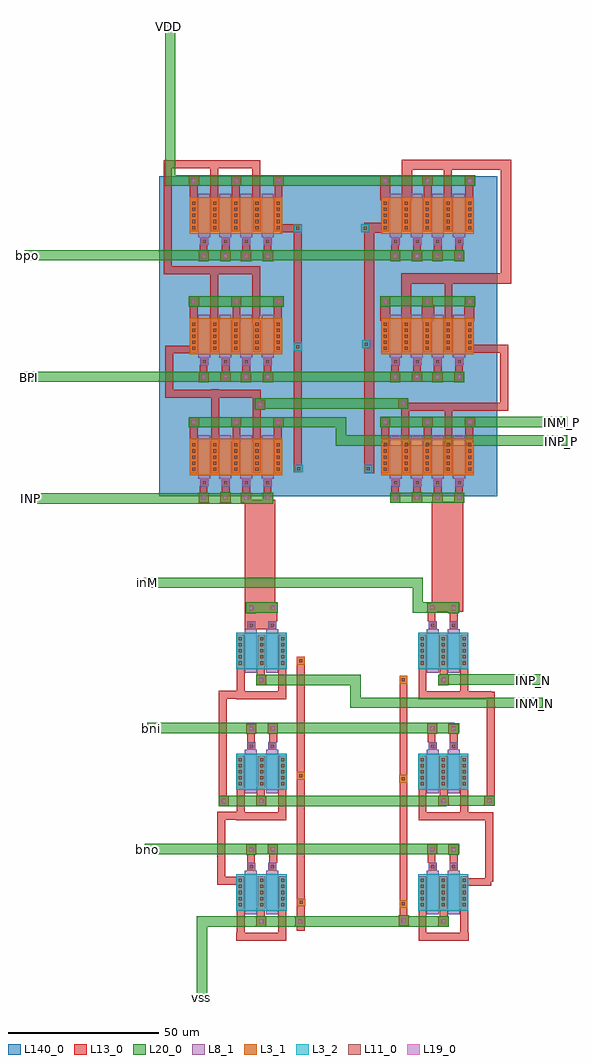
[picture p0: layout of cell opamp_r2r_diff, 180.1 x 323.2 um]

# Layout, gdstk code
from math import pi, radians
import gdstk
lib = gdstk.Library(unit=1e-6, precision=1e-07)
def R(c, l, rs):  # rectangles x0, y0, x1, y1
    for r in rs: c.add(gdstk.rectangle(r[:2], r[2:], *l))
def A(c, l, x, y, w, h, nx, ny, dx, dy):  # array of equal rectangles
    R(c, l, [(x+i*dx, y+j*dy, x+i*dx+w, y+j*dy+h) for i in range(nx) for j in range(ny)])
L3_1 = (3, 1)
L3_2 = (3, 2)
L8_1 = (8, 1)
L11_0 = (11, 0)
L13_0 = (13, 0)
L19_0 = (19, 0)
L20_0 = (20, 0)
L140_0 = (140, 0)

via_1 = lib.new_cell('via_1')
R(via_1, L13_0, [(-1.7,-1.7,1.7,1.7)])
R(via_1, L19_0, [(-0.7,-0.7,0.7,0.7)])
R(via_1, L20_0, [(-1.7,-1.7,1.7,1.7)])

cont_g = lib.new_cell('cont_g')
R(cont_g, L8_1, [(-1.3,-1.3,1.3,1.3)])
R(cont_g, L11_0, [(-0.5,-0.5,0.5,0.5)])
R(cont_g, L13_0, [(-1.3,-1.3,1.3,1.3)])

fet_p = lib.new_cell('fet_p')
R(fet_p, L3_1, [(-15.3,-6,15.3,6)])
A(fet_p, L11_0, -14.5, -4.5, 1, 1, 5, 5, 7, 2)
A(fet_p, L13_0, -15.3, -5.3, 2.6, 10.6, 5, 1, 7, 0)
fet_p.add(gdstk.FlexPath([(3.5,-7.2),(3.5,7.2)], 4, ends="flush", simple_path=True, layer=8, datatype=1))  # L8_1
fet_p.add(gdstk.FlexPath([(-3.5,-7.2),(-3.5,7.2)], 4, ends="flush", simple_path=True, layer=8, datatype=1))  # L8_1
fet_p.add(gdstk.FlexPath([(10.5,-7.2),(10.5,7.2)], 4, ends="flush", simple_path=True, layer=8, datatype=1))  # L8_1
fet_p.add(gdstk.FlexPath([(-10.5,-7.2),(-10.5,7.2)], 4, ends="flush", simple_path=True, layer=8, datatype=1))  # L8_1

cont_n = lib.new_cell('cont_n')
R(cont_n, L3_2, [(-1.3,-1.3,1.3,1.3)])
R(cont_n, L11_0, [(-0.5,-0.5,0.5,0.5)])
R(cont_n, L13_0, [(-1.3,-1.3,1.3,1.3)])

fet_n = lib.new_cell('fet_n')
R(fet_n, L3_2, [(-8.3,-6,8.3,6)])
A(fet_n, L11_0, -7.5, -4.5, 1, 1, 3, 5, 7, 2)
A(fet_n, L13_0, -8.3, -5.3, 2.6, 10.6, 3, 1, 7, 0)
fet_n.add(gdstk.FlexPath([(3.5,-7.2),(3.5,7.2)], 4, ends="flush", simple_path=True, layer=8, datatype=1))  # L8_1
fet_n.add(gdstk.FlexPath([(-3.5,-7.2),(-3.5,7.2)], 4, ends="flush", simple_path=True, layer=8, datatype=1))  # L8_1

nfet_std = lib.new_cell('NFET_STD')
nfet_std.add(gdstk.FlexPath([(4.9,28.5),(4.9,25.8)], 2.6, ends="flush", simple_path=True, layer=13, datatype=0))  # L13_0
nfet_std.add(gdstk.FlexPath([(12.3,28.6),(12.3,25.8)], 2.6, ends="flush", simple_path=True, layer=13, datatype=0))  # L13_0
nfet_std.add(gdstk.FlexPath([(15.3,10.9),(15.3,1.3),(0,1.3)], 2.6, ends="flush", simple_path=True, layer=13, datatype=0))  # L13_0
nfet_std.add(gdstk.FlexPath([(1.5,10.7),(1.5,2.2)], 2.6, ends="flush", simple_path=True, layer=13, datatype=0))  # L13_0
nfet_std.add(gdstk.FlexPath([(8.2,11),(8.2,5.8)], 2.6, ends="flush", simple_path=True, layer=13, datatype=0))  # L13_0
nfet_std.add(gdstk.FlexPath([(3.1,30.4),(13.6,30.4)], 3.4, ends="flush", simple_path=True, layer=20, datatype=0))  # L20_0
nfet_std.add(gdstk.Reference(cont_g, (5,24.5), rotation=pi/2))
nfet_std.add(gdstk.Reference(cont_g, (11.9,24.5), rotation=pi/2))
nfet_std.add(gdstk.Reference(via_1, (5,30.2), rotation=pi/2))
nfet_std.add(gdstk.Reference(via_1, (12.1,30.3), rotation=pi/2))
nfet_std.add(gdstk.Reference(via_1, (8.3,6.4), rotation=pi/2))
nfet_std.add(gdstk.Reference(fet_n, (8.4,16)))

cont_p = lib.new_cell('cont_p')
R(cont_p, L3_1, [(-1.3,-1.3,1.3,1.3)])
R(cont_p, L11_0, [(-0.5,-0.5,0.5,0.5)])
R(cont_p, L13_0, [(-1.3,-1.3,1.3,1.3)])

opamp_r2r_diff = lib.new_cell('opamp_r2r_diff')
R(opamp_r2r_diff, L140_0, [(-25.5,67.2,27.4,93.2), (-25.5,67.2,86.5,173.2), (37.1,67.2,86.5,93.2), (-25.5,107.2,24.9,133.2), (37.2,107.2,86.5,133.2), (-25.5,147.2,29.5,173.2), (36.8,147.2,86.5,173.2)])
opamp_r2r_diff.add(gdstk.FlexPath([(-10.8,70.7),(-10.8,68.2)], 2.6, ends="flush", simple_path=True, layer=13, datatype=0))  # L13_0
opamp_r2r_diff.add(gdstk.FlexPath([(-3.5,70.7),(-3.5,68.2)], 2.6, ends="flush", simple_path=True, layer=13, datatype=0))  # L13_0
opamp_r2r_diff.add(gdstk.FlexPath([(3.3,70.5),(3.3,68.3)], 2.6, ends="flush", simple_path=True, layer=13, datatype=0))  # L13_0
opamp_r2r_diff.add(gdstk.FlexPath([(10.4,70.5),(10.4,68.2)], 2.6, ends="flush", simple_path=True, layer=13, datatype=0))  # L13_0
opamp_r2r_diff.add(gdstk.FlexPath([(-6.9,85),(-6.9,102.6)], 2.6, ends="flush", simple_path=True, layer=13, datatype=0))  # L13_0
opamp_r2r_diff.add(gdstk.FlexPath([(52.6,70.7),(52.6,68.2)], 2.6, ends="flush", simple_path=True, layer=13, datatype=0))  # L13_0
opamp_r2r_diff.add(gdstk.FlexPath([(13.8,90.4),(13.8,85.2)], 2.6, ends="flush", simple_path=True, layer=13, datatype=0))  # L13_0
opamp_r2r_diff.add(gdstk.FlexPath([(0.1,90.7),(0.1,85.2)], 2.6, ends="flush", simple_path=True, layer=13, datatype=0))  # L13_0
opamp_r2r_diff.add(gdstk.FlexPath([(-14,90.6),(-14,85.3)], 2.6, ends="flush", simple_path=True, layer=13, datatype=0))  # L13_0
opamp_r2r_diff.add(gdstk.FlexPath([(-10.8,110.7),(-10.8,108.2)], 2.6, ends="flush", simple_path=True, layer=13, datatype=0))  # L13_0
opamp_r2r_diff.add(gdstk.FlexPath([(-10.8,150.7),(-10.8,148.2)], 2.6, ends="flush", simple_path=True, layer=13, datatype=0))  # L13_0
opamp_r2r_diff.add(gdstk.FlexPath([(-3.5,110.7),(-3.5,108.2)], 2.6, ends="flush", simple_path=True, layer=13, datatype=0))  # L13_0
opamp_r2r_diff.add(gdstk.FlexPath([(-3.5,150.7),(-3.5,148.2)], 2.6, ends="flush", simple_path=True, layer=13, datatype=0))  # L13_0
opamp_r2r_diff.add(gdstk.FlexPath([(3.3,110.5),(3.3,108.3)], 2.6, ends="flush", simple_path=True, layer=13, datatype=0))  # L13_0
opamp_r2r_diff.add(gdstk.FlexPath([(3.3,150.5),(3.3,148.3)], 2.6, ends="flush", simple_path=True, layer=13, datatype=0))  # L13_0
opamp_r2r_diff.add(gdstk.FlexPath([(10.4,110.5),(10.4,108.2)], 2.6, ends="flush", simple_path=True, layer=13, datatype=0))  # L13_0
opamp_r2r_diff.add(gdstk.FlexPath([(10.4,150.5),(10.4,148.2)], 2.6, ends="flush", simple_path=True, layer=13, datatype=0))  # L13_0
opamp_r2r_diff.add(gdstk.FlexPath([(-7.2,125.3),(-7.2,141.4)], 2.6, ends="flush", simple_path=True, layer=13, datatype=0))  # L13_0
opamp_r2r_diff.add(gdstk.FlexPath([(-7.2,165.3),(-7.2,176.6)], 2.6, ends="flush", simple_path=True, layer=13, datatype=0))  # L13_0
opamp_r2r_diff.add(gdstk.FlexPath([(6.8,85.3),(6.8,101.2),(-22.2,101.2),(-22.2,115.9)], 2.6, ends="flush", simple_path=True, layer=13, datatype=0))  # L13_0
opamp_r2r_diff.add(gdstk.FlexPath([(6.6,165.4),(6.6,177.1),(-22.6,177.1),(-22.6,142),(6.7,142),(6.7,125.6),(7.6,125.6)], 2.6, ends="flush", simple_path=True, layer=13, datatype=0))  # L13_0
opamp_r2r_diff.add(gdstk.FlexPath([(13.8,130.4),(13.8,125.2)], 2.6, ends="flush", simple_path=True, layer=13, datatype=0))  # L13_0
opamp_r2r_diff.add(gdstk.FlexPath([(14,170.4),(14,165.2)], 2.6, ends="flush", simple_path=True, layer=13, datatype=0))  # L13_0
opamp_r2r_diff.add(gdstk.FlexPath([(0.1,130.7),(0.1,125.2)], 2.6, ends="flush", simple_path=True, layer=13, datatype=0))  # L13_0
opamp_r2r_diff.add(gdstk.FlexPath([(-0.1,170.3),(-0.1,164.8)], 2.6, ends="flush", simple_path=True, layer=13, datatype=0))  # L13_0
opamp_r2r_diff.add(gdstk.FlexPath([(-14,130.6),(-14,125.3)], 2.6, ends="flush", simple_path=True, layer=13, datatype=0))  # L13_0
opamp_r2r_diff.add(gdstk.FlexPath([(-14,170.6),(-14,165.3)], 2.6, ends="flush", simple_path=True, layer=13, datatype=0))  # L13_0
opamp_r2r_diff.add(gdstk.FlexPath([(59.9,70.7),(59.9,68.2)], 2.6, ends="flush", simple_path=True, layer=13, datatype=0))  # L13_0
opamp_r2r_diff.add(gdstk.FlexPath([(66.7,70.5),(66.7,68.3)], 2.6, ends="flush", simple_path=True, layer=13, datatype=0))  # L13_0
opamp_r2r_diff.add(gdstk.FlexPath([(73.8,70.5),(73.8,68.2)], 2.6, ends="flush", simple_path=True, layer=13, datatype=0))  # L13_0
opamp_r2r_diff.add(gdstk.FlexPath([(78.3,116.1),(88.8,116.1),(88.8,96.9),(56,96.9),(56,85.3)], 2.6, ends="flush", simple_path=True, layer=13, datatype=0))  # L13_0
opamp_r2r_diff.add(gdstk.FlexPath([(77.2,90.4),(77.2,85.2)], 2.6, ends="flush", simple_path=True, layer=13, datatype=0))  # L13_0
opamp_r2r_diff.add(gdstk.FlexPath([(63.5,90.7),(63.5,85.2)], 2.6, ends="flush", simple_path=True, layer=13, datatype=0))  # L13_0
opamp_r2r_diff.add(gdstk.FlexPath([(49.4,90.6),(49.4,85.3)], 2.6, ends="flush", simple_path=True, layer=13, datatype=0))  # L13_0
opamp_r2r_diff.add(gdstk.FlexPath([(52.6,110.7),(52.6,108.2)], 2.6, ends="flush", simple_path=True, layer=13, datatype=0))  # L13_0
opamp_r2r_diff.add(gdstk.FlexPath([(52.6,150.7),(52.6,148.2)], 2.6, ends="flush", simple_path=True, layer=13, datatype=0))  # L13_0
opamp_r2r_diff.add(gdstk.FlexPath([(59.9,110.7),(59.9,108.2)], 2.6, ends="flush", simple_path=True, layer=13, datatype=0))  # L13_0
opamp_r2r_diff.add(gdstk.FlexPath([(59.9,150.7),(59.9,148.2)], 2.6, ends="flush", simple_path=True, layer=13, datatype=0))  # L13_0
opamp_r2r_diff.add(gdstk.FlexPath([(66.7,110.5),(66.7,108.3)], 2.6, ends="flush", simple_path=True, layer=13, datatype=0))  # L13_0
opamp_r2r_diff.add(gdstk.FlexPath([(66.7,150.5),(66.7,148.3)], 2.6, ends="flush", simple_path=True, layer=13, datatype=0))  # L13_0
opamp_r2r_diff.add(gdstk.FlexPath([(73.8,110.5),(73.8,108.2)], 2.6, ends="flush", simple_path=True, layer=13, datatype=0))  # L13_0
opamp_r2r_diff.add(gdstk.FlexPath([(73.8,150.5),(73.8,148.2)], 2.6, ends="flush", simple_path=True, layer=13, datatype=0))  # L13_0
opamp_r2r_diff.add(gdstk.FlexPath([(48.5,156.1),(44.1,156.1),(44.1,74.9)], 3.4, ends="flush", simple_path=True, layer=13, datatype=0))  # L13_0
opamp_r2r_diff.add(gdstk.FlexPath([(56.6,165),(56.6,177),(89.4,177),(89.4,139.3),(56.3,139.3),(56.3,125),(56.3,125)], 3.4, ends="flush", simple_path=True, layer=13, datatype=0))  # L13_0
opamp_r2r_diff.add(gdstk.FlexPath([(70.3,85.1),(70.3,96.3)], 2.6, ends="flush", simple_path=True, layer=13, datatype=0))  # L13_0
opamp_r2r_diff.add(gdstk.FlexPath([(14.5,156),(20.4,156),(20.4,75.1)], 2.6, ends="flush", simple_path=True, layer=13, datatype=0))  # L13_0
opamp_r2r_diff.add(gdstk.FlexPath([(77.2,130.4),(77.2,125.2)], 3.2, ends="flush", simple_path=True, layer=13, datatype=0))  # L13_0
opamp_r2r_diff.add(gdstk.FlexPath([(77.2,170.4),(77.2,165.2)], 2.6, ends="flush", simple_path=True, layer=13, datatype=0))  # L13_0
opamp_r2r_diff.add(gdstk.FlexPath([(63.5,130.7),(63.5,125.2)], 4.2, ends="flush", simple_path=True, layer=13, datatype=0))  # L13_0
opamp_r2r_diff.add(gdstk.FlexPath([(63.5,170.7),(63.5,165.2)], 2.6, ends="flush", simple_path=True, layer=13, datatype=0))  # L13_0
opamp_r2r_diff.add(gdstk.FlexPath([(49.4,130.6),(49.4,125.3)], 3.4, ends="flush", simple_path=True, layer=13, datatype=0))  # L13_0
opamp_r2r_diff.add(gdstk.FlexPath([(49.4,170.6),(49.4,165.3)], 3.4, ends="flush", simple_path=True, layer=13, datatype=0))  # L13_0
opamp_r2r_diff.add(gdstk.FlexPath([(7.9,66),(7.9,65.7),(7.9,23.2)], 10, ends="flush", simple_path=True, layer=13, datatype=0))  # L13_0
opamp_r2r_diff.add(gdstk.FlexPath([(70,65.4),(70,29)], 10.5, ends="flush", simple_path=True, layer=13, datatype=0))  # L13_0
opamp_r2r_diff.add(gdstk.FlexPath([(75.9,1.3),(84.4,1.3)], 2.6, ends="flush", simple_path=True, layer=13, datatype=0))  # L13_0
opamp_r2r_diff.add(gdstk.FlexPath([(84.3,2.5),(84.3,-35)], 2.6, ends="flush", simple_path=True, layer=13, datatype=0))  # L13_0
opamp_r2r_diff.add(gdstk.FlexPath([(21.4,14.1),(21.4,-76.6)], 2.6, ends="flush", simple_path=True, layer=13, datatype=0))  # L13_0
opamp_r2r_diff.add(gdstk.FlexPath([(55.4,7.7),(55.4,-66.7),(55.4,-75.1)], 2.6, ends="flush", simple_path=True, layer=13, datatype=0))  # L13_0
opamp_r2r_diff.add(gdstk.FlexPath([(75,-38.7),(85.1,-38.7)], 2.6, ends="flush", simple_path=True, layer=13, datatype=0))  # L13_0
opamp_r2r_diff.add(gdstk.FlexPath([(83.8,-38.7),(83.8,-60.5)], 2.6, ends="flush", simple_path=True, layer=13, datatype=0))  # L13_0
opamp_r2r_diff.add(gdstk.FlexPath([(84.5,-60.5),(74.3,-60.5)], 2.6, ends="flush", simple_path=True, layer=13, datatype=0))  # L13_0
opamp_r2r_diff.add(gdstk.FlexPath([(2.6,1.5),(-4.4,1.5),(-4.4,-34.9)], 2.6, ends="flush", simple_path=True, layer=13, datatype=0))  # L13_0
opamp_r2r_diff.add(gdstk.FlexPath([(2.3,-38.6),(-4.9,-38.6),(-4.9,-60.1),(2.3,-60.1)], 2.6, ends="flush", simple_path=True, layer=13, datatype=0))  # L13_0
opamp_r2r_diff.add(gdstk.FlexPath([(70.1,165.2),(70.1,176.2),(71.4,176.2)], 2.6, ends="flush", simple_path=True, layer=13, datatype=0))  # L13_0
opamp_r2r_diff.add(gdstk.FlexPath([(70.3,125.4),(70.3,138.6)], 2.6, ends="flush", simple_path=True, layer=13, datatype=0))  # L13_0
opamp_r2r_diff.add(gdstk.FlexPath([(-23.5,115.8),(-14.5,115.8),(-14.5,114.5),(-14.5,114.5)], 2.6, ends="flush", simple_path=True, layer=13, datatype=0))  # L13_0
opamp_r2r_diff.add(gdstk.FlexPath([(47.7,91.8),(48.9,91.8),(109.7,91.8)], 3.4, ends="flush", simple_path=True, layer=20, datatype=0))  # L20_0
opamp_r2r_diff.add(gdstk.FlexPath([(47.7,131.8),(79.1,131.8)], 3.4, ends="flush", simple_path=True, layer=20, datatype=0))  # L20_0
opamp_r2r_diff.add(gdstk.FlexPath([(75.6,147),(-70,147)], 3.4, ends="flush", simple_path=True, layer=20, datatype=0))  # L20_0
opamp_r2r_diff.add(gdstk.FlexPath([(-15.7,131.7),(15.7,131.7)], 3.4, ends="flush", simple_path=True, layer=20, datatype=0))  # L20_0
opamp_r2r_diff.add(gdstk.FlexPath([(75.6,106.8),(-70.1,106.8)], 3.4, ends="flush", simple_path=True, layer=20, datatype=0))  # L20_0
opamp_r2r_diff.add(gdstk.FlexPath([(12.2,66.5),(-70.4,66.5)], 3.4, ends="flush", simple_path=True, layer=20, datatype=0))  # L20_0
opamp_r2r_diff.add(gdstk.FlexPath([(51,66.7),(75.6,66.7)], 3.4, ends="flush", simple_path=True, layer=20, datatype=0))  # L20_0
opamp_r2r_diff.add(gdstk.FlexPath([(57,97.9),(6.2,97.9)], 3.4, ends="flush", simple_path=True, layer=20, datatype=0))  # L20_0
opamp_r2r_diff.add(gdstk.FlexPath([(-15.7,91.7),(34.7,91.7),(34.7,85.7),(109.7,85.7)], 3.4, ends="flush", simple_path=True, layer=20, datatype=0))  # L20_0
opamp_r2r_diff.add(gdstk.FlexPath([(79.2,171.8),(-21.8,171.8),(-21.8,223.6),(-21.8,223.6)], 3.4, ends="flush", simple_path=True, layer=20, datatype=0))  # L20_0
opamp_r2r_diff.add(gdstk.FlexPath([(72.2,-9.5),(-29.5,-9.5)], 3.4, ends="flush", simple_path=True, layer=20, datatype=0))  # L20_0
opamp_r2r_diff.add(gdstk.FlexPath([(72.4,30.4),(60.1,30.4),(60.1,38.6),(-30.6,38.6)], 3.4, ends="flush", simple_path=True, layer=20, datatype=0))  # L20_0
opamp_r2r_diff.add(gdstk.FlexPath([(69.4,-73.6),(-11.3,-73.6),(-11.3,-99.6)], 3.4, ends="flush", simple_path=True, layer=20, datatype=0))  # L20_0
opamp_r2r_diff.add(gdstk.FlexPath([(72.7,-49.6),(-30.3,-49.6)], 3.4, ends="flush", simple_path=True, layer=20, datatype=0))  # L20_0
opamp_r2r_diff.add(gdstk.FlexPath([(67.4,6.5),(100.9,6.5)], 3.4, ends="flush", simple_path=True, layer=20, datatype=0))  # L20_0
opamp_r2r_diff.add(gdstk.FlexPath([(7.2,6.4),(39.5,6.4),(39.5,-1.2),(101.6,-1.2)], 3.4, ends="flush", simple_path=True, layer=20, datatype=0))  # L20_0
opamp_r2r_diff.add(gdstk.FlexPath([(69.6,-33.7),(-5.6,-33.7)], 3.4, ends="flush", simple_path=True, layer=20, datatype=0))  # L20_0
opamp_r2r_diff.add(gdstk.FlexPath([(68.9,-33.6),(85.6,-33.6)], 3.4, ends="flush", simple_path=True, layer=20, datatype=0))  # L20_0
opamp_r2r_diff.add(gdstk.Reference(via_1, (10.5,66.7), rotation=pi/2))
opamp_r2r_diff.add(gdstk.Reference(via_1, (3.3,66.7), rotation=pi/2))
opamp_r2r_diff.add(gdstk.Reference(via_1, (-3.5,66.8), rotation=pi/2))
opamp_r2r_diff.add(gdstk.Reference(via_1, (-10.7,66.7), rotation=pi/2))
opamp_r2r_diff.add(gdstk.Reference(cont_g, (10.5,71.7), rotation=pi/2))
opamp_r2r_diff.add(gdstk.Reference(cont_g, (3.3,71.7), rotation=pi/2))
opamp_r2r_diff.add(gdstk.Reference(cont_g, (-3.4,71.7), rotation=pi/2))
opamp_r2r_diff.add(gdstk.Reference(cont_g, (-10.6,71.7), rotation=pi/2))
opamp_r2r_diff.add(gdstk.Reference(via_1, (14,91.7), rotation=pi/2))
opamp_r2r_diff.add(gdstk.Reference(via_1, (0,91.7), rotation=pi/2))
opamp_r2r_diff.add(gdstk.Reference(via_1, (-14,91.7), rotation=pi/2))
opamp_r2r_diff.add(gdstk.Reference(fet_p, (-0.1,80.2), rotation=pi))
opamp_r2r_diff.add(gdstk.Reference(via_1, (10.5,106.7), rotation=pi/2))
opamp_r2r_diff.add(gdstk.Reference(via_1, (10.5,146.7), rotation=pi/2))
opamp_r2r_diff.add(gdstk.Reference(via_1, (3.3,106.7), rotation=pi/2))
opamp_r2r_diff.add(gdstk.Reference(via_1, (3.3,146.7), rotation=pi/2))
opamp_r2r_diff.add(gdstk.Reference(via_1, (-3.5,106.8), rotation=pi/2))
opamp_r2r_diff.add(gdstk.Reference(via_1, (-3.5,146.8), rotation=pi/2))
opamp_r2r_diff.add(gdstk.Reference(via_1, (-10.7,106.7), rotation=pi/2))
opamp_r2r_diff.add(gdstk.Reference(via_1, (-10.7,146.7), rotation=pi/2))
opamp_r2r_diff.add(gdstk.Reference(cont_g, (10.5,111.7), rotation=pi/2))
opamp_r2r_diff.add(gdstk.Reference(cont_g, (10.5,151.7), rotation=pi/2))
opamp_r2r_diff.add(gdstk.Reference(cont_g, (3.3,111.7), rotation=pi/2))
opamp_r2r_diff.add(gdstk.Reference(cont_g, (3.3,151.7), rotation=pi/2))
opamp_r2r_diff.add(gdstk.Reference(cont_g, (-3.4,111.7), rotation=pi/2))
opamp_r2r_diff.add(gdstk.Reference(cont_g, (-3.4,151.7), rotation=pi/2))
opamp_r2r_diff.add(gdstk.Reference(cont_g, (-10.6,111.7), rotation=pi/2))
opamp_r2r_diff.add(gdstk.Reference(cont_g, (-10.6,151.7), rotation=pi/2))
opamp_r2r_diff.add(gdstk.Reference(via_1, (14,131.7), rotation=pi/2))
opamp_r2r_diff.add(gdstk.Reference(via_1, (14,171.7), rotation=pi/2))
opamp_r2r_diff.add(gdstk.Reference(via_1, (0,131.7), rotation=pi/2))
opamp_r2r_diff.add(gdstk.Reference(via_1, (0,171.7), rotation=pi/2))
opamp_r2r_diff.add(gdstk.Reference(via_1, (-14,131.7), rotation=pi/2))
opamp_r2r_diff.add(gdstk.Reference(via_1, (-14,171.7), rotation=pi/2))
opamp_r2r_diff.add(gdstk.Reference(fet_p, (-0.1,120.2), rotation=pi))
opamp_r2r_diff.add(gdstk.Reference(fet_p, (-0.1,160.2), rotation=pi))
opamp_r2r_diff.add(gdstk.Reference(via_1, (73.9,66.7), rotation=pi/2))
opamp_r2r_diff.add(gdstk.Reference(via_1, (66.7,66.7), rotation=pi/2))
opamp_r2r_diff.add(gdstk.Reference(via_1, (59.9,66.8), rotation=pi/2))
opamp_r2r_diff.add(gdstk.Reference(via_1, (52.7,66.7), rotation=pi/2))
opamp_r2r_diff.add(gdstk.Reference(cont_g, (73.9,71.7), rotation=pi/2))
opamp_r2r_diff.add(gdstk.Reference(cont_g, (66.7,71.7), rotation=pi/2))
opamp_r2r_diff.add(gdstk.Reference(cont_g, (60,71.7), rotation=pi/2))
opamp_r2r_diff.add(gdstk.Reference(cont_g, (52.8,71.7), rotation=pi/2))
opamp_r2r_diff.add(gdstk.Reference(via_1, (77.4,91.7), rotation=pi/2))
opamp_r2r_diff.add(gdstk.Reference(via_1, (63.4,91.7), rotation=pi/2))
opamp_r2r_diff.add(gdstk.Reference(via_1, (49.4,91.7), rotation=pi/2))
opamp_r2r_diff.add(gdstk.Reference(fet_p, (63.3,80.2), rotation=pi))
opamp_r2r_diff.add(gdstk.Reference(via_1, (73.9,106.7), rotation=pi/2))
opamp_r2r_diff.add(gdstk.Reference(via_1, (73.9,146.7), rotation=pi/2))
opamp_r2r_diff.add(gdstk.Reference(via_1, (66.7,106.7), rotation=pi/2))
opamp_r2r_diff.add(gdstk.Reference(via_1, (66.7,146.7), rotation=pi/2))
opamp_r2r_diff.add(gdstk.Reference(via_1, (59.9,106.8), rotation=pi/2))
opamp_r2r_diff.add(gdstk.Reference(via_1, (59.9,146.8), rotation=pi/2))
opamp_r2r_diff.add(gdstk.Reference(via_1, (52.7,106.7), rotation=pi/2))
opamp_r2r_diff.add(gdstk.Reference(via_1, (52.7,146.7), rotation=pi/2))
opamp_r2r_diff.add(gdstk.Reference(cont_g, (73.9,111.7), rotation=pi/2))
opamp_r2r_diff.add(gdstk.Reference(cont_g, (73.9,151.7), rotation=pi/2))
opamp_r2r_diff.add(gdstk.Reference(cont_g, (66.7,111.7), rotation=pi/2))
opamp_r2r_diff.add(gdstk.Reference(cont_g, (66.7,151.7), rotation=pi/2))
opamp_r2r_diff.add(gdstk.Reference(cont_g, (60,111.7), rotation=pi/2))
opamp_r2r_diff.add(gdstk.Reference(cont_g, (60,151.7), rotation=pi/2))
opamp_r2r_diff.add(gdstk.Reference(cont_g, (52.8,111.7), rotation=pi/2))
opamp_r2r_diff.add(gdstk.Reference(cont_g, (52.8,151.7), rotation=pi/2))
opamp_r2r_diff.add(gdstk.Reference(via_1, (77.4,131.7), rotation=pi/2))
opamp_r2r_diff.add(gdstk.Reference(via_1, (77.4,171.7), rotation=pi/2))
opamp_r2r_diff.add(gdstk.Reference(via_1, (63.4,131.7), rotation=pi/2))
opamp_r2r_diff.add(gdstk.Reference(via_1, (63.4,171.7), rotation=pi/2))
opamp_r2r_diff.add(gdstk.Reference(via_1, (49.4,131.7), rotation=pi/2))
opamp_r2r_diff.add(gdstk.Reference(via_1, (49.4,171.7), rotation=pi/2))
opamp_r2r_diff.add(gdstk.Reference(fet_p, (63.3,120.2), rotation=pi))
opamp_r2r_diff.add(gdstk.Reference(fet_p, (63.3,160.2), rotation=pi))
opamp_r2r_diff.add(gdstk.Reference(via_1, (8,97.5), rotation=pi/2))
opamp_r2r_diff.add(gdstk.Reference(via_1, (55.3,97.9), rotation=pi/2))
opamp_r2r_diff.add(gdstk.Reference(cont_n, (42.7,156)))
opamp_r2r_diff.add(gdstk.Reference(cont_n, (20.4,155.9)))
opamp_r2r_diff.add(gdstk.Reference(cont_n, (20.4,116.7)))
opamp_r2r_diff.add(gdstk.Reference(cont_n, (43.1,117.5)))
opamp_r2r_diff.add(gdstk.Reference(cont_n, (43.8,76.3)))
opamp_r2r_diff.add(gdstk.Reference(cont_n, (20.7,76.4)))
opamp_r2r_diff.add(gdstk.Reference(nfet_std, (0,0)))
opamp_r2r_diff.add(gdstk.Reference(nfet_std, (0,-40)))
opamp_r2r_diff.add(gdstk.Reference(nfet_std, (0,-80)))
opamp_r2r_diff.add(gdstk.Reference(nfet_std, (77,0), rotation=pi, x_reflection=True))
opamp_r2r_diff.add(gdstk.Reference(nfet_std, (77,-40), rotation=pi, x_reflection=True))
opamp_r2r_diff.add(gdstk.Reference(nfet_std, (77,-80), rotation=pi, x_reflection=True))
opamp_r2r_diff.add(gdstk.Reference(via_1, (-4.1,-33.7)))
opamp_r2r_diff.add(gdstk.Reference(via_1, (83.9,-33.6)))
opamp_r2r_diff.add(gdstk.Reference(via_1, (21.2,-73.7)))
opamp_r2r_diff.add(gdstk.Reference(cont_p, (55.4,-67.8)))
opamp_r2r_diff.add(gdstk.Reference(via_1, (55.5,-73.3)))
opamp_r2r_diff.add(gdstk.Reference(cont_p, (55.4,6.4)))
opamp_r2r_diff.add(gdstk.Reference(cont_p, (21.4,12.8)))
opamp_r2r_diff.add(gdstk.Reference(cont_p, (21.4,-25.3)))
opamp_r2r_diff.add(gdstk.Reference(cont_p, (55.3,-26.3)))
opamp_r2r_diff.add(gdstk.Reference(cont_p, (21.5,-67.3)))
opamp_r2r_diff.add(gdstk.Label('vss', (-11.5,-98.8), layer=49, texttype=0))
opamp_r2r_diff.add(gdstk.Label('bno', (-29.5,-49.9), layer=49, texttype=0))
opamp_r2r_diff.add(gdstk.Label('bni', (-28.1,-9.6), layer=49, texttype=0))
opamp_r2r_diff.add(gdstk.Label('inM', (-29.2,38.5), layer=49, texttype=0))
opamp_r2r_diff.add(gdstk.Label('INP', (-68,66.4), layer=49, texttype=0))
opamp_r2r_diff.add(gdstk.Label('BPI', (-68.6,106.6), layer=49, texttype=0))
opamp_r2r_diff.add(gdstk.Label('bpo', (-69.1,146.9), layer=49, texttype=0))
opamp_r2r_diff.add(gdstk.Label('INP_P', (107.6,85.4), layer=49, texttype=0))
opamp_r2r_diff.add(gdstk.Label('VDD', (-22.3,222.7), layer=49, texttype=0))
opamp_r2r_diff.add(gdstk.Label('INM_P', (107.7,91.6), layer=49, texttype=0))
opamp_r2r_diff.add(gdstk.Label('INP_N', (98.4,6.3), layer=49, texttype=0))
opamp_r2r_diff.add(gdstk.Label('INM_N', (98.8,-1.3), layer=49, texttype=0))

lib.write_gds('opamp_r2r_diff.gds')
